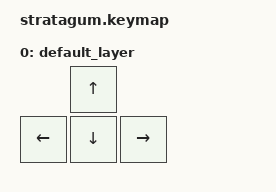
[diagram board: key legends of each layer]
#include <behaviors.dtsi>
#include <dt-bindings/zmk/keys.h>

/ {
  keymap {
    compatible = "zmk,keymap";

    default_layer {
      bindings = <
                 &kp UP
        &kp LEFT &kp DOWN &kp RIGHT
      >;
    };
  };
};
